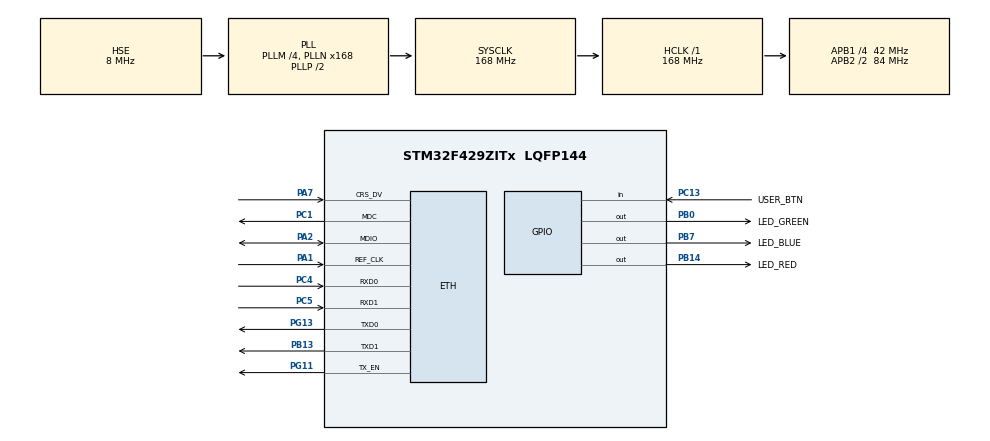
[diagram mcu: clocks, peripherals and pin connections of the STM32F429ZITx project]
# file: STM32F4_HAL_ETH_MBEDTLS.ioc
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ETH.MediaInterface=ETH_MEDIA_INTERFACE_RMII
ETH.PhyAddress=0
FREERTOS.HEAP_NUMBER=4
FREERTOS.Tasks01=defaultTask,0,512,StartDefaultTask,Default,NULL,Dynamic,NULL,NULL;sslTask,0,2560,StartSSLClientTask,As weak,NULL,Dynamic,NULL,NULL
FREERTOS.configCHECK_FOR_STACK_OVERFLOW=2
FREERTOS.configENABLE_FPU=1
FREERTOS.configMINIMAL_STACK_SIZE=512
FREERTOS.configTOTAL_HEAP_SIZE=65536
FREERTOS.configUSE_STATS_FORMATTING_FUNCTIONS=1
FREERTOS.configUSE_TRACE_FACILITY=1
LWIP.LWIP_NETIF_LINK_CALLBACK=1
LWIP.LWIP_SO_RCVBUF=1
LWIP.Version=v2.1.2_Cube
MBEDTLS.MBEDTLS_DEBUG_C=1
MBEDTLS.MBEDTLS_DHM_C=1
MBEDTLS.MBEDTLS_ECJPAKE_C=1
MBEDTLS.MBEDTLS_ENABLE_WEAK_CIPHERSUITES=0
MBEDTLS.MBEDTLS_ENTROPY_FORCE_SHA256=1
MBEDTLS.MBEDTLS_KEY_EXCHANGE_DHE_PSK_ENABLED=1
MBEDTLS.MBEDTLS_KEY_EXCHANGE_DHE_RSA_ENABLED=1
MBEDTLS.MBEDTLS_KEY_EXCHANGE_ECDHE_PSK_ENABLED=1
MBEDTLS.MBEDTLS_KEY_EXCHANGE_ECDHE_RSA_ENABLED=1
MBEDTLS.MBEDTLS_KEY_EXCHANGE_ECDH_ECDSA_ENABLED=1
MBEDTLS.MBEDTLS_KEY_EXCHANGE_ECDH_RSA_ENABLED=1
MBEDTLS.MBEDTLS_KEY_EXCHANGE_ECJPAKE_ENABLED=1
MBEDTLS.MBEDTLS_KEY_EXCHANGE_PSK_ENABLED=1
MBEDTLS.MBEDTLS_KEY_EXCHANGE_RSA_ENABLED=1
MBEDTLS.MBEDTLS_KEY_EXCHANGE_RSA_PSK_ENABLED=1
MBEDTLS.MBEDTLS_MD5_C=1
MBEDTLS.MBEDTLS_MPI_MAX_SIZE=256
MBEDTLS.MBEDTLS_PKCS1_V15=1
MBEDTLS.MBEDTLS_PKCS1_V21=1
MBEDTLS.MBEDTLS_PLATFORM_MEMORY=1
MBEDTLS.MBEDTLS_RSA_C=1
MBEDTLS.MBEDTLS_SHA1_C=1
MBEDTLS.MBEDTLS_SHA256_SMALLER=1
MBEDTLS.MBEDTLS_SSL_CIPHERSUITES=MBEDTLS_TLS_ECDHE_ECDSA_WITH_AES_256_GCM_SHA384,MBEDTLS_TLS_ECDHE_ECDSA_WITH_AES_128_GCM_SHA256,MBEDTLS_TLS_ECDHE_RSA_WITH_AES_128_GCM_SHA256
MBEDTLS.MBEDTLS_SSL_MAX_CONTENT_LEN=4096
MBEDTLS.MBEDTLS_SSL_MAX_CONTENT_LEN_ENABLE=1
MBEDTLS.MBEDTLS_SSL_PROTO_SSL3=0
MBEDTLS.MBEDTLS_SSL_PROTO_TLS1=0
MBEDTLS.MBEDTLS_SSL_PROTO_TLS1_1=0
Mcu.Family=STM32F4
Mcu.Name=STM32F429ZITx
Mcu.Package=LQFP144
NVIC.ETH_IRQn=true\:5\:0\:false\:false\:true\:true\:false\:true
NVIC.PriorityGroup=NVIC_PRIORITYGROUP_4
NVIC.TIM6_DAC_IRQn=true\:0\:0\:false\:false\:true\:false\:false\:true
NVIC.TimeBase=TIM6_DAC_IRQn
NVIC.TimeBaseIP=TIM6
PA1.Mode=RMII
PA1.Signal=ETH_REF_CLK
PA13.Mode=Trace_Asynchronous_SW
PA13.Signal=SYS_JTMS-SWDIO
PA14.Mode=Trace_Asynchronous_SW
PA14.Signal=SYS_JTCK-SWCLK
PA2.Mode=RMII
PA2.Signal=ETH_MDIO
PA7.Mode=RMII
PA7.Signal=ETH_CRS_DV
PB0.GPIO_Label=LED_GREEN
PB0.Signal=GPIO_Output
PB13.Mode=RMII
PB13.Signal=ETH_TXD1
PB14.GPIO_Label=LED_RED
PB14.Signal=GPIO_Output
PB3.Mode=Trace_Asynchronous_SW
PB3.Signal=SYS_JTDO-SWO
PB7.GPIO_Label=LED_BLUE
PB7.Signal=GPIO_Output
PC1.Mode=RMII
PC1.Signal=ETH_MDC
PC13.GPIO_Label=USER_BTN
PC13.Signal=GPIO_Input
PC14/OSC32_IN.Mode=LSE-External-Oscillator
PC14/OSC32_IN.Signal=RCC_OSC32_IN
PC15/OSC32_OUT.Mode=LSE-External-Oscillator
PC15/OSC32_OUT.Signal=RCC_OSC32_OUT
PC4.Mode=RMII
PC4.Signal=ETH_RXD0
PC5.Mode=RMII
PC5.Signal=ETH_RXD1
PG11.Mode=RMII
PG11.Signal=ETH_TX_EN
PG13.Mode=RMII
PG13.Signal=ETH_TXD0
PH0/OSC_IN.Mode=HSE-External-Clock-Source
PH0/OSC_IN.Signal=RCC_OSC_IN
PH1/OSC_OUT.Mode=HSE-External-Clock-Source
PH1/OSC_OUT.Signal=RCC_OSC_OUT
ProjectManager.HeapSize=0x200
ProjectManager.StackSize=0x400
ProjectManager.TargetToolchain=STM32CubeIDE
RCC.48MHZClocksFreq_Value=48000000
RCC.AHBFreq_Value=168000000
RCC.APB1CLKDivider=RCC_HCLK_DIV4
RCC.APB1Freq_Value=42000000
RCC.APB1TimFreq_Value=84000000
RCC.APB2CLKDivider=RCC_HCLK_DIV2
RCC.APB2Freq_Value=84000000
RCC.APB2TimCLKDivider=2
RCC.APB2TimFreq_Value=168000000
RCC.CortexFreq_Value=168000000
RCC.HCLKFreq_Value=168000000
RCC.HSE_VALUE=8000000
RCC.HSI_VALUE=16000000
RCC.PLLM=4
RCC.PLLMUL=RCC_PLL_MUL9
RCC.PLLN=168
RCC.PLLQ=7
RCC.PLLSourceVirtual=RCC_PLLSOURCE_HSE
RCC.PRESCALERUSB=RCC_USBCLKSOURCE_PLL_DIV1_5
RCC.SYSCLKFreq_VALUE=168000000
RCC.SYSCLKSource=RCC_SYSCLKSOURCE_PLLCLK
RCC.SYSCLKSourceVirtual=RCC_SYSCLKSOURCE_PLLCLK
RCC.USBFreq_Value=48000000
RCC.VCOOutputFreq_Value=336000000
VP_FREERTOS_VS_CMSIS_V1.Mode=CMSIS_V1
VP_LWIP_VS_Enabled.Mode=Enabled
VP_MBEDTLS_VS_MBEDTLS.Mode=Enabled
VP_RNG_VS_RNG.Mode=RNG_Activate
VP_SYS_VS_tim6.Mode=TIM6
board=NUCLEO-F429ZI

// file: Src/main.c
/* USER CODE BEGIN Header */
/**
  ******************************************************************************
  * @file           : main.c
  * @brief          : Main program body
  ******************************************************************************
  * @attention
  *
  * <h2><center>&copy; Copyright (c) 2020 STMicroelectronics.
  * All rights reserved.</center></h2>
  *
  * This software component is licensed by ST under Ultimate Liberty license
  * SLA0044, the "License"; You may not use this file except in compliance with
  * the License. You may obtain a copy of the License at:
  *                             www.st.com/SLA0044
  *
  ******************************************************************************
  */
/* USER CODE END Header */

#include "main.h"
#include "cmsis_os.h"
#include "mbedtls.h"
#include "rng.h"
#include "gpio.h"

/* USER CODE BEGIN Includes */
#include <stdio.h>
/* USER CODE END Includes */

void SystemClock_Config(void);
void MX_FREERTOS_Init(void);

/* USER CODE BEGIN 0 */
int _write(int file, char *ptr, int len)
{
  int DataIdx;

  for (DataIdx = 0; DataIdx < len; DataIdx++)
  {
    ITM_SendChar(*ptr++);
  }
  return len;
}
/* USER CODE END 0 */

int main(void)
{

  /* MCU Configuration--------------------------------------------------------*/

  /* Reset of all peripherals, Initializes the Flash interface and the Systick. */
  HAL_Init();

  /* Configure the system clock */
  SystemClock_Config();

  /* Initialize all configured peripherals */
  MX_GPIO_Init();
  MX_RNG_Init();
  /* Up to user define the empty MX_MBEDTLS_Init() function located in mbedtls.c file */
  /* USER CODE BEGIN 2 */
  printf("Don't remove this printf to prevent hard fault.\r\n");

  /* USER CODE END 2 */

  /* Call init function for freertos objects (in freertos.c) */
  MX_FREERTOS_Init();
  /* Start scheduler */
  osKernelStart();

  /* We should never get here as control is now taken by the scheduler */
  /* Infinite loop */
  while (1)
  {

  }
}

void SystemClock_Config(void)
{
  RCC_OscInitTypeDef RCC_OscInitStruct = {0};
  RCC_ClkInitTypeDef RCC_ClkInitStruct = {0};

  /** Configure the main internal regulator output voltage
  */
  __HAL_RCC_PWR_CLK_ENABLE();
  __HAL_PWR_VOLTAGESCALING_CONFIG(PWR_REGULATOR_VOLTAGE_SCALE1);
  /** Initializes the CPU, AHB and APB busses clocks
  */
  RCC_OscInitStruct.OscillatorType = RCC_OSCILLATORTYPE_HSE;
  RCC_OscInitStruct.HSEState = RCC_HSE_BYPASS;
  RCC_OscInitStruct.PLL.PLLState = RCC_PLL_ON;
  RCC_OscInitStruct.PLL.PLLSource = RCC_PLLSOURCE_HSE;
  RCC_OscInitStruct.PLL.PLLM = 4;
  RCC_OscInitStruct.PLL.PLLN = 168;
  RCC_OscInitStruct.PLL.PLLP = RCC_PLLP_DIV2;
  RCC_OscInitStruct.PLL.PLLQ = 7;
  if (HAL_RCC_OscConfig(&RCC_OscInitStruct) != HAL_OK)
  {
    Error_Handler();
  }
  /** Initializes the CPU, AHB and APB busses clocks
  */
  RCC_ClkInitStruct.ClockType = RCC_CLOCKTYPE_HCLK|RCC_CLOCKTYPE_SYSCLK
                              |RCC_CLOCKTYPE_PCLK1|RCC_CLOCKTYPE_PCLK2;
  RCC_ClkInitStruct.SYSCLKSource = RCC_SYSCLKSOURCE_PLLCLK;
  RCC_ClkInitStruct.AHBCLKDivider = RCC_SYSCLK_DIV1;
  RCC_ClkInitStruct.APB1CLKDivider = RCC_HCLK_DIV4;
  RCC_ClkInitStruct.APB2CLKDivider = RCC_HCLK_DIV2;

  if (HAL_RCC_ClockConfig(&RCC_ClkInitStruct, FLASH_LATENCY_5) != HAL_OK)
  {
    Error_Handler();
  }
}

 /**
  * @brief  Period elapsed callback in non blocking mode
  * @note   This function is called  when TIM6 interrupt took place, inside
  * HAL_TIM_IRQHandler(). It makes a direct call to HAL_IncTick() to increment
  * a global variable "uwTick" used as application time base.
  * @param  htim : TIM handle
  * @retval None
  */
void HAL_TIM_PeriodElapsedCallback(TIM_HandleTypeDef *htim)
{
  if (htim->Instance == TIM6) {
    HAL_IncTick();
  }
}

void Error_Handler(void)
{
}

/************************ (C) COPYRIGHT STMicroelectronics *****END OF FILE****/

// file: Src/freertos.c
/* USER CODE BEGIN Header */
/**
 ******************************************************************************
 * File Name          : freertos.c
 * Description        : Code for freertos applications
 ******************************************************************************
 * @attention
 *
 * <h2><center>&copy; Copyright (c) 2020 STMicroelectronics.
 * All rights reserved.</center></h2>
 *
 * This software component is licensed by ST under Ultimate Liberty license
 * SLA0044, the "License"; You may not use this file except in compliance with
 * the License. You may obtain a copy of the License at:
 *                             www.st.com/SLA0044
 *
 ******************************************************************************
 */
/* USER CODE END Header */

#include "FreeRTOS.h"
#include "task.h"
#include "main.h"
#include "cmsis_os.h"

/* USER CODE BEGIN Includes */
#include <stdio.h>
#include "ssl_client.h"
/* USER CODE END Includes */

/* USER CODE BEGIN Variables */
osThreadId sslTaskHandle;

/* USER CODE END Variables */
osThreadId defaultTaskHandle;
osThreadId sslTaskHandle;

void StartDefaultTask(void const * argument);
void StartSSLClientTask(void const * argument);

extern void MX_LWIP_Init(void);
void MX_FREERTOS_Init(void); /* (MISRA C 2004 rule 8.1) */

/* GetIdleTaskMemory prototype (linked to static allocation support) */
void vApplicationGetIdleTaskMemory( StaticTask_t **ppxIdleTaskTCBBuffer, StackType_t **ppxIdleTaskStackBuffer, uint32_t *pulIdleTaskStackSize );

/* Hook prototypes */
void vApplicationStackOverflowHook(xTaskHandle xTask, signed char *pcTaskName);

/* USER CODE BEGIN 4 */
void vApplicationStackOverflowHook(xTaskHandle xTask, signed char *pcTaskName)
{
	/* Run time stack overflow checking is performed if
   configCHECK_FOR_STACK_OVERFLOW is defined to 1 or 2. This hook function is
   called if a stack overflow is detected. */

	HAL_GPIO_WritePin(LED_BLUE_GPIO_Port, LED_BLUE_Pin, GPIO_PIN_SET);	//turn on blue led when system detects stack overflow
}
/* USER CODE END 4 */

/* USER CODE BEGIN GET_IDLE_TASK_MEMORY */
static StaticTask_t xIdleTaskTCBBuffer;
static StackType_t xIdleStack[configMINIMAL_STACK_SIZE];

void vApplicationGetIdleTaskMemory( StaticTask_t **ppxIdleTaskTCBBuffer, StackType_t **ppxIdleTaskStackBuffer, uint32_t *pulIdleTaskStackSize )
{
	*ppxIdleTaskTCBBuffer = &xIdleTaskTCBBuffer;
	*ppxIdleTaskStackBuffer = &xIdleStack[0];
	*pulIdleTaskStackSize = configMINIMAL_STACK_SIZE;
	/* place for user code */
}
/* USER CODE END GET_IDLE_TASK_MEMORY */

void MX_FREERTOS_Init(void) {

  /* Create the thread(s) */
  /* definition and creation of defaultTask */
  osThreadDef(defaultTask, StartDefaultTask, osPriorityNormal, 0, 512);
  defaultTaskHandle = osThreadCreate(osThread(defaultTask), NULL);

  /* definition and creation of sslTask */
  osThreadDef(sslTask, StartSSLClientTask, osPriorityNormal, 0, 2560);
  sslTaskHandle = osThreadCreate(osThread(sslTask), NULL);

}

void StartDefaultTask(void const * argument)
{
  /* USER CODE BEGIN StartDefaultTask */
	TaskStatus_t sslTaskStatus;

	MX_LWIP_Init(); //moved MX_LWIP_Init from mbedtls_net_init

	/* Infinite loop */
	for(;;)
	{
		vTaskGetInfo(sslTaskHandle, &sslTaskStatus, pdFALSE, eInvalid);
		if(sslTaskStatus.eCurrentState == eDeleted)
		{
			printf("Recreate sslTask...\n\n");
			osThreadDef(sslTask, StartSSLClientTask, osPriorityNormal, 0, 2560);
			sslTaskHandle = osThreadCreate(osThread(sslTask), NULL);
		}

		HAL_GPIO_TogglePin(LED_GREEN_GPIO_Port, LED_GREEN_Pin);
		osDelay(500);
	}
  /* USER CODE END StartDefaultTask */
}

__weak void StartSSLClientTask(void const * argument)
{
  for(;;)
  {
    osDelay(1);
  }
}

/************************ (C) COPYRIGHT STMicroelectronics *****END OF FILE****/
